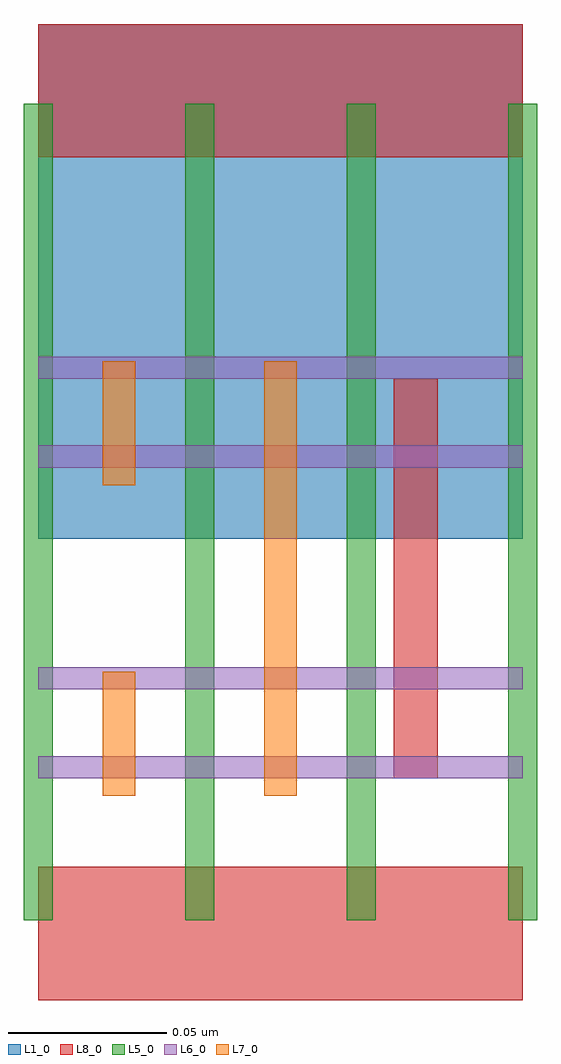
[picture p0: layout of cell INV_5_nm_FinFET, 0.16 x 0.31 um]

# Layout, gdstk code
import gdstk
lib = gdstk.Library(unit=1e-6, precision=1e-12)
def R(c, l, rs):  # rectangles x0, y0, x1, y1
    for r in rs: c.add(gdstk.rectangle(r[:2], r[2:], *l))
def A(c, l, x, y, w, h, nx, ny, dx, dy):  # array of equal rectangles
    R(c, l, [(x+i*dx, y+j*dy, x+i*dx+w, y+j*dy+h) for i in range(nx) for j in range(ny)])
L1_0 = (1, 0)
L5_0 = (5, 0)
L6_0 = (6, 0)
L7_0 = (7, 0)
L8_0 = (8, 0)

inv_5_nm_finfet = lib.new_cell('INV_5_nm_FinFET')
R(inv_5_nm_finfet, L1_0, [(0,0.1456,0.153,0.308)])
A(inv_5_nm_finfet, L5_0, -0.0046, 0.0252, 0.0092, 0.2576, 4, 1, 0.051, 0)
R(inv_5_nm_finfet, L6_0, [(0,0.07,0.153,0.077), (0,0.098,0.153,0.105), (0,0.168,0.153,0.175), (0,0.196,0.153,0.203)])
R(inv_5_nm_finfet, L7_0, [(0.0204,0.0644,0.0306,0.1036), (0.0714,0.0644,0.0816,0.2016), (0.0204,0.1624,0.0306,0.2016)])
R(inv_5_nm_finfet, L8_0, [(0,0,0.153,0.042), (0.1122,0.07,0.1262,0.196), (0,0.266,0.153,0.308)])

lib.write_gds('INV_5_nm_FinFET.gds')
